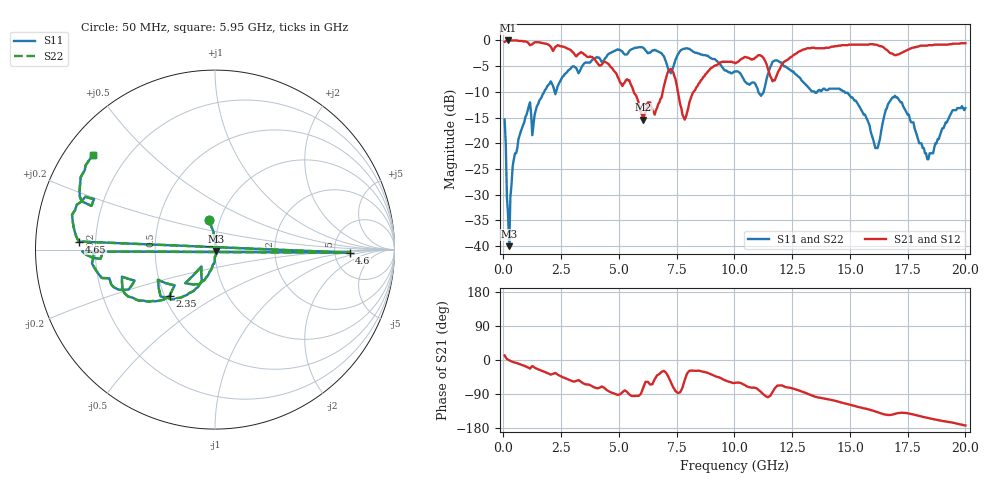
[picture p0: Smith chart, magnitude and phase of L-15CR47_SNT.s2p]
#	mhz	s	ma	r	50
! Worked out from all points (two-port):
!   400 points, 50 MHz to 20 GHz, reference 50 ohm
!   highest |S21| = 0.00 dB at 200 MHz (marker M1); lowest = -15.4 dB at 6.05 GHz (marker M2)
!   |S21| within 3 dB of the highest: start of sweep to 3.13 GHz; 12.52 GHz to end of sweep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
!   lowest |S11| = -40.0 dB at 250 MHz (marker M3), VSWR 1.02, Z = 50.4 - j0.919 ohm
!   |S11| at or under -10 dB: start of sweep to 1.766 GHz; 11.04 GHz to 11.26 GHz (221.5 MHz wide, 1.99 % of centre); 14.77 GHz to end of sweep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
!   |S22| runs from -40.0 to -1.3 dB; largest |S21 - S12| = 0
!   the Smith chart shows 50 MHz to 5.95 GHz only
!   S11 on the Smith chart (normalised r, x): 50 MHz: 0.88, +0.30; 2.35 GHz: 0.53, -0.31; 4.6 GHz: 6.96, -0.54; 4.65 GHz: 0.14, +0.03; 5.95 GHz: 0.08, +0.34
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50  0.17 101.9  0.97 11.9  0.97 11.9  0.17 101.9
200  0.02 11.1  1 0.8  1 0.8  0.02 11.1
250  0.01 -65.7  1 -0.9  1 -0.9  0.01 -65.7
400  0.06 -91.1  1 -4.8  1 -4.8  0.06 -91.1
700  0.12 -102.1  0.99 -10.7  0.99 -10.7  0.12 -102.1
2350  0.36 -134.5  0.9 -38.8  0.9 -38.8  0.36 -134.5
3400  0.56 -156.3  0.76 -59.3  0.76 -59.3  0.56 -156.3
4550  0.74 -179.2  0.59 -82.3  0.59 -82.3  0.74 -179.2
4600  0.75 -1.3  0.57 -83.8  0.57 -83.8  0.75 -1.3
4650  0.76 176.6  0.55 -85.4  0.55 -85.4  0.76 176.6
5950  0.86 142.2  0.2 -89.5  0.2 -89.5  0.86 142.2
6050  0.85 139.3  0.17 -73.1  0.17 -73.1  0.85 139.3
6700  0.78 127.7  0.24 -38.8  0.24 -38.8  0.78 127.7
10050  0.5 72.1  0.6 -59.9  0.6 -59.9  0.5 72.1
11150  0.29 79.5  0.71 -84.4  0.71 -84.4  0.29 79.5
11750  0.64 74.9  0.41 -74.4  0.41 -74.4  0.64 74.9
13350  0.32 22.4  0.85 -93.9  0.85 -93.9  0.32 22.4
14900  0.31 -25.7  0.9 -116.4  0.9 -116.4  0.31 -25.7
16100  0.09 27.1  0.91 -135.7  0.91 -135.7  0.09 27.1
16700  0.25 80.3  0.77 -145.1  0.77 -145.1  0.25 80.3
18350  0.07 40.5  0.89 -152.9  0.89 -152.9  0.07 40.5
20000  0.22 -61.8  0.94 -172.7  0.94 -172.7  0.22 -61.8
